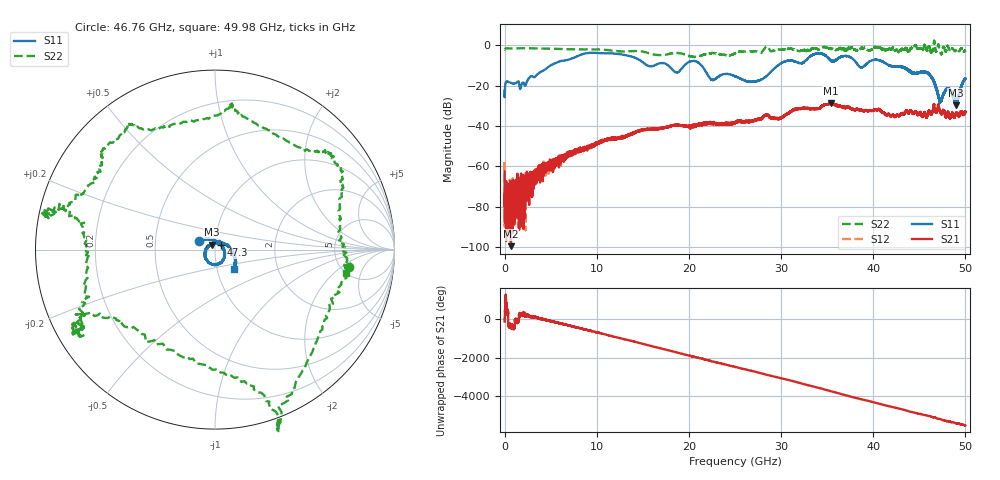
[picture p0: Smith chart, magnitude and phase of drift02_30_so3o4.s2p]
!Created with skrf (http://scikit-rf.org).
# Hz S RI R 50.0
!freq ReS11 ImS11 ReS21 ImS21 ReS12 ImS12 ReS22 ImS22
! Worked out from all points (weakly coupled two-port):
!   10001 points, 300 kHz to 50 GHz, reference 50 ohm
!   highest |S21| = -28.52 dB at 35.4 GHz (marker M1); lowest = -99.6 dB at 685.3 MHz (marker M2)
!   lowest |S11| = -29.6 dB at 48.97 GHz (marker M3), VSWR 1.07, Z = 48.2 + j2.73 ohm
!   |S11| at or under -10 dB: start of sweep to 4.956 GHz; 21.38 GHz to 29.63 GHz (8.251 GHz wide, 32.4 % of centre); 41.87 GHz to end of sweep (the widest 3 of 12)
!   |S22| runs from -5.7 to 2.5 dB; largest |S21 - S12| = 0.0039
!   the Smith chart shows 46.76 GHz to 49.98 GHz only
!   S11 on the Smith chart (normalised r, x): 46.76 GHz: 0.83, +0.08; 47.3 GHz: 1.06, +0.05; 49.98 GHz: 1.20, -0.27
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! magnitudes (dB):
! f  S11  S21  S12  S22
! 300 kHz  -22.4  -62.6  -57.8  -2.1
! 255.3 MHz  -17.9  -70.0  -75.1  -1.4
! 685.3 MHz  -18.6  -99.6  -77.7  -1.5
! 1.875 GHz  -19.1  -76.3  -74.0  -1.3
! 8.335 GHz  -4.5  -51.6  -51.4  -1.9
! 16.67 GHz  -9.1  -41.4  -41.2  -4.7
! 18.7 GHz  -13.5  -39.4  -39.6  -3.7
! 20.6 GHz  -7.7  -39.9  -39.9  -5.7
! 22.51 GHz  -17.1  -38.4  -38.8  -3.7
! 25 GHz  -15.3  -38.2  -38.3  -3.9
! 27.5 GHz  -17.6  -36.9  -36.8  -3.2
! 30.22 GHz  -8.3  -35.4  -35.2  -2.1
! 33.34 GHz  -4.9  -31.4  -31.2  -1.6
! 35.4 GHz  -7.5  -28.5  -28.7  -1.7
! 41.67 GHz  -9.7  -34.0  -34.2  -1.9
! 45.77 GHz  -13.5  -35.8  -35.6  -2.0
! 46.76 GHz  -20.0  -33.1  -32.7  -2.5
! 47.3 GHz  -27.8  -33.3  -33.2  -3.6
! 48.14 GHz  -21.7  -33.5  -33.5  -0.8
! 48.97 GHz  -29.6  -34.1  -34.1  -2.5
! 49.98 GHz  -16.3  -32.7  -32.8  -2.6
! 50 GHz  -16.4  -33.0  -33.0  -2.7
